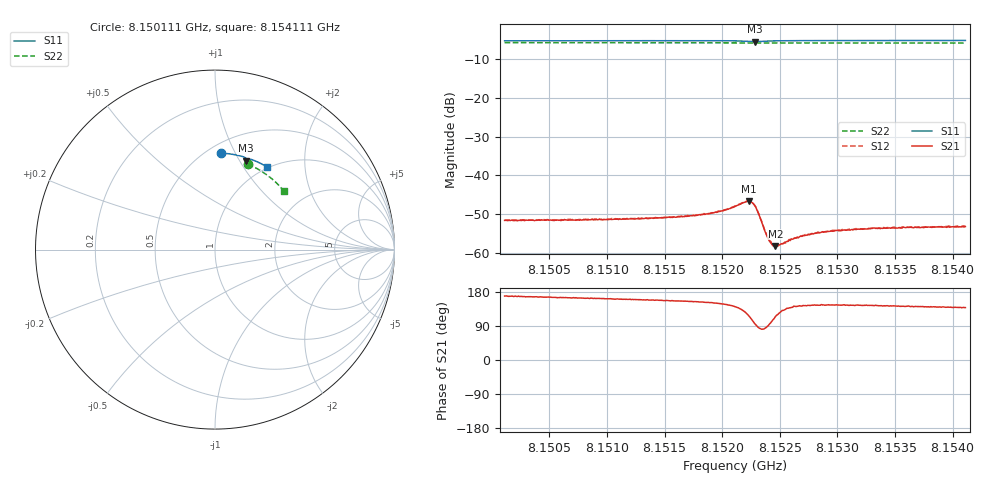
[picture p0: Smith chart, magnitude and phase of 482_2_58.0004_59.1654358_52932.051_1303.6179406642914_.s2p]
#  HZ  S  RI  R  50.00
! Rohde & Schwarz Vector Network Analyzer
! Rohde-Schwarz,ZNB20-2Port,1311601062101988,3.16
! Created: UTC 3/21/2024, 1:11:55 AM
! freq[Hz]  re:S11  im:S11  re:S21  im:S21  re:S12  im:S12  re:S22  im:S22
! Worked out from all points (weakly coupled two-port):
!   401 points, 8.150111 GHz to 8.154111 GHz, reference 50 ohm
!   highest |S21| = -46.63 dB at 8.152231 GHz (marker M1); lowest = -58.1 dB at 8.152461 GHz (marker M2)
!   lowest |S11| = -5.6 dB at 8.152281 GHz (marker M3), VSWR 3.21, Z = 38.9 + j53.3 ohm
!   |S11| at or under -10 dB: nowhere
!   |S22| runs from -6.0 to -5.9 dB; largest |S21 - S12| = 0.00012
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8.1501111e9  0.031 0.5373  -0.0026 0.000516  -0.00261 0.000555  0.1833 0.4757
8.1507811e9  0.0777 0.5338  -0.00255 0.000758  -0.00255 0.000829  0.2224 0.4577
8.1514511e9  0.1242 0.5258  -0.00263 0.00109  -0.00263 0.00113  0.2595 0.4365
8.151691e9  0.141 0.5218  -0.00271 0.00125  -0.00271 0.00131  0.2724 0.4281
8.151901e9  0.1562 0.5174  -0.00286 0.00155  -0.00287 0.00163  0.2833 0.4204
8.152031e9  0.166 0.5134  -0.00302 0.00199  -0.00302 0.00205  0.2902 0.4156
8.152111e9  0.1723 0.5095  -0.00309 0.00253  -0.0031 0.00258  0.2941 0.4124
8.152191e9  0.1772 0.5027  -0.0028 0.00354  -0.00275 0.00365  0.2981 0.4092
8.152231e9  0.177 0.4983  -0.00208 0.00417  -0.00206 0.00422  0.2999 0.4075
8.152251e9  0.1756 0.4966  -0.00149 0.00432  -0.00142 0.00439  0.3009 0.4068
8.152281e9  0.1728 0.4961  -0.000459 0.00411  -0.000414 0.00413  0.3022 0.4056
8.152311e9  0.1707 0.4983  0.000206 0.00338  0.000237 0.00338  0.3035 0.4046
8.152381e9  0.1739 0.5046  0.000138 0.00176  0.000176 0.0018  0.3072 0.4022
8.152401e9  0.1759 0.5054  -3.08e-05 0.00152  -2.9e-05 0.00152  0.3082 0.4014
8.152431e9  0.179 0.5061  -0.00028 0.00127  -0.000271 0.0013  0.3099 0.4003
8.152461e9  0.1818 0.5064  -0.000509 0.00113  -0.000485 0.00114  0.3112 0.3991
8.152501e9  0.1855 0.5063  -0.000743 0.00105  -0.000733 0.00106  0.3133 0.3974
8.152661e9  0.1984 0.5035  -0.00125 0.000968  -0.00125 0.00101  0.3211 0.391
8.152781e9  0.207 0.5007  -0.00146 0.00103  -0.00145 0.00106  0.3268 0.386
8.152981e9  0.2206 0.4955  -0.00161 0.00112  -0.00162 0.00114  0.3363 0.3775
8.153451e9  0.251 0.4819  -0.00167 0.0013  -0.00167 0.00132  0.3573 0.3565
8.154111e9  0.2912 0.4598  -0.00165 0.00147  -0.00164 0.0015  0.3845 0.3252
